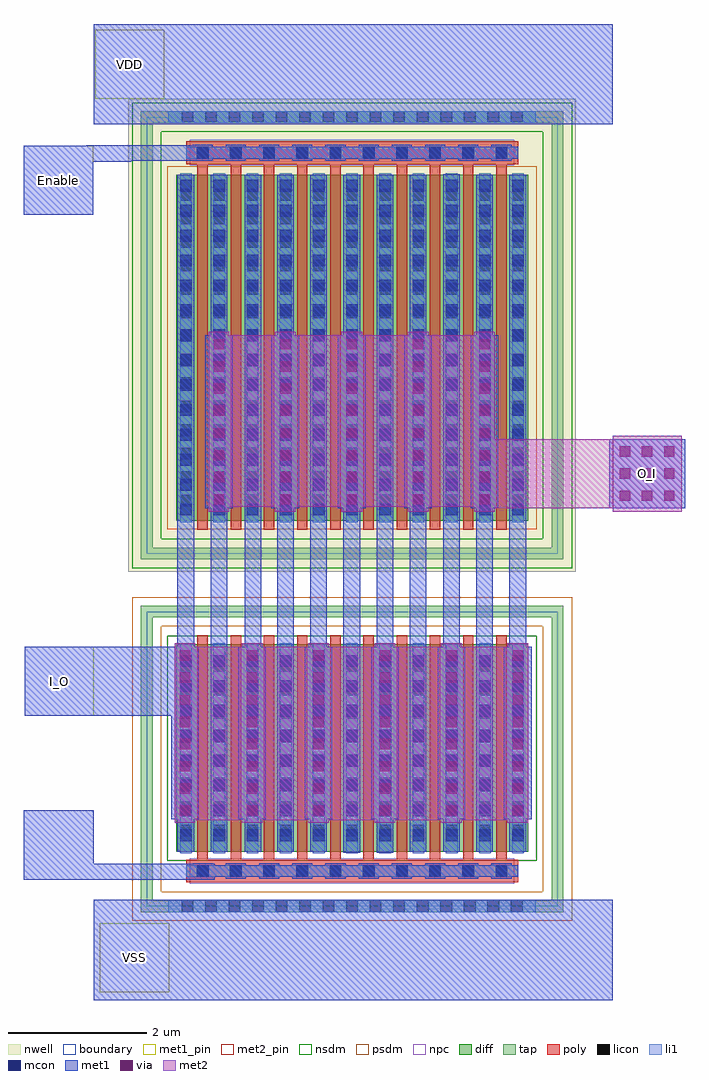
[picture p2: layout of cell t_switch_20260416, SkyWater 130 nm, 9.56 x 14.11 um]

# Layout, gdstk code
import gdstk
lib = gdstk.Library(unit=1e-6, precision=1e-09)
def R(c, l, rs):  # rectangles x0, y0, x1, y1
    for r in rs: c.add(gdstk.rectangle(r[:2], r[2:], *l))
def A(c, l, x, y, w, h, nx, ny, dx, dy):  # array of equal rectangles
    R(c, l, [(x+i*dx, y+j*dy, x+i*dx+w, y+j*dy+h) for i in range(nx) for j in range(ny)])
nwell = (64, 20)
diff = (65, 20)
tap = (65, 44)
poly = (66, 20)
licon = (66, 44)
li1 = (67, 20)
mcon = (67, 44)
met1_pin = (68, 16)
met1 = (68, 20)
via = (68, 44)
met2_pin = (69, 16)
met2 = (69, 20)
nsdm = (93, 44)
psdm = (94, 20)
npc = (95, 20)
boundary = (235, 4)

sky130_fd_pr__nfet_01v8_ = lib.new_cell('sky130_fd_pr__nfet_01v8_3DG2JK')
R(sky130_fd_pr__nfet_01v8_, diff, [(-2.545,-1.345,2.545,1.655)])
R(sky130_fd_pr__nfet_01v8_, tap, [(-3.055,-2.215,3.055,-2.045), (-3.055,-2.045,-2.885,2.045), (2.885,-2.045,3.055,2.045), (-3.055,2.045,3.055,2.215)])
A(sky130_fd_pr__nfet_01v8_, poly, -2.235, -1.455, 0.15, 3.24, 10, 1, 0.48, 0)
R(sky130_fd_pr__nfet_01v8_, poly, [(-2.4,-1.785,2.4,-1.455)])
A(sky130_fd_pr__nfet_01v8_, licon, -2.465, -2.215, 0.17, 0.17, 15, 1, 0.34, 0)
A(sky130_fd_pr__nfet_01v8_, licon, -2.245, -1.705, 0.17, 0.17, 10, 1, 0.48, 0)
A(sky130_fd_pr__nfet_01v8_, licon, -2.485, -1.12, 0.17, 0.17, 11, 8, 0.48, 0.34)
A(sky130_fd_pr__nfet_01v8_, li1, -2.485, -1.365, 0.17, 3.04, 11, 1, 0.48, 0)
R(sky130_fd_pr__nfet_01v8_, li1, [(-2.655,-2.215,2.655,-2.045), (-2.4,-1.705,2.4,-1.535)])
A(sky130_fd_pr__nfet_01v8_, mcon, -2.245, -1.705, 0.17, 0.17, 10, 1, 0.48, 0)
A(sky130_fd_pr__nfet_01v8_, mcon, -2.485, -1.19, 0.17, 0.17, 11, 8, 0.48, 0.36)
A(sky130_fd_pr__nfet_01v8_, met1, -2.305, -1.735, 0.29, 0.03, 10, 2, 0.48, 0.2)
A(sky130_fd_pr__nfet_01v8_, met1, -2.515, -1.345, 0.23, 3, 11, 1, 0.48, 0)
R(sky130_fd_pr__nfet_01v8_, met1, [(-2.4,-1.705,2.4,-1.535)])
R(sky130_fd_pr__nfet_01v8_, nsdm, [(-2.67,-1.47,2.67,1.78)])
R(sky130_fd_pr__nfet_01v8_, psdm, [(-3.18,-2.34,3.18,-1.92), (-3.18,-1.92,-2.76,1.92), (2.76,-1.92,3.18,1.92), (-3.18,1.92,3.18,2.34)])
R(sky130_fd_pr__nfet_01v8_, npc, [(-2.345,-1.805,2.345,-1.435)])
R(sky130_fd_pr__nfet_01v8_, boundary, [(-2.97,-2.13,2.97,2.13)])
sky130_fd_pr__nfet_01v8_.add(gdstk.Label('S7', (0.96,0.155), layer=67, texttype=5))
sky130_fd_pr__nfet_01v8_.add(gdstk.Label('D6', (0.48,0.155), layer=67, texttype=5))
sky130_fd_pr__nfet_01v8_.add(gdstk.Label('S5', (0,0.155), layer=67, texttype=5))
sky130_fd_pr__nfet_01v8_.add(gdstk.Label('D8', (1.44,0.155), layer=67, texttype=5))
sky130_fd_pr__nfet_01v8_.add(gdstk.Label('S3', (-0.96,0.155), layer=67, texttype=5))
sky130_fd_pr__nfet_01v8_.add(gdstk.Label('S9', (1.92,0.155), layer=67, texttype=5))
sky130_fd_pr__nfet_01v8_.add(gdstk.Label('D2', (-1.44,0.155), layer=67, texttype=5))
sky130_fd_pr__nfet_01v8_.add(gdstk.Label('S1', (-1.92,0.155), layer=67, texttype=5))
sky130_fd_pr__nfet_01v8_.add(gdstk.Label('D4', (-0.48,0.155), layer=67, texttype=5))
sky130_fd_pr__nfet_01v8_.add(gdstk.Label('G', (-2.16,-1.62), layer=67, texttype=5))
sky130_fd_pr__nfet_01v8_.add(gdstk.Label('G', (-1.68,-1.62), layer=67, texttype=5))
sky130_fd_pr__nfet_01v8_.add(gdstk.Label('G', (-1.2,-1.62), layer=67, texttype=5))
sky130_fd_pr__nfet_01v8_.add(gdstk.Label('G', (-0.72,-1.62), layer=67, texttype=5))
sky130_fd_pr__nfet_01v8_.add(gdstk.Label('G', (-0.24,-1.62), layer=67, texttype=5))
sky130_fd_pr__nfet_01v8_.add(gdstk.Label('G', (0.24,-1.62), layer=67, texttype=5))
sky130_fd_pr__nfet_01v8_.add(gdstk.Label('G', (0.72,-1.62), layer=67, texttype=5))
sky130_fd_pr__nfet_01v8_.add(gdstk.Label('G', (1.2,-1.62), layer=67, texttype=5))
sky130_fd_pr__nfet_01v8_.add(gdstk.Label('G', (1.68,-1.62), layer=67, texttype=5))
sky130_fd_pr__nfet_01v8_.add(gdstk.Label('G', (2.16,-1.62), layer=67, texttype=5))
sky130_fd_pr__nfet_01v8_.add(gdstk.Label('D0', (-2.4,0.155), layer=67, texttype=5))
sky130_fd_pr__nfet_01v8_.add(gdstk.Label('B', (0,-2.13), layer=67, texttype=5))

sky130_fd_pr__pfet_01v8_ = lib.new_cell('sky130_fd_pr__pfet_01v8_ZQNDFS')
R(sky130_fd_pr__pfet_01v8_, nwell, [(-3.235,-3.42,3.235,3.42)])
R(sky130_fd_pr__pfet_01v8_, diff, [(-2.545,-2.68,2.545,2.32)])
R(sky130_fd_pr__pfet_01v8_, tap, [(-3.055,-3.24,3.055,-3.07), (-3.055,-3.07,-2.885,3.07), (2.885,-3.07,3.055,3.07), (-3.055,3.07,3.055,3.24)])
A(sky130_fd_pr__pfet_01v8_, poly, -2.235, -2.81, 0.15, 5.285, 10, 1, 0.48, 0)
R(sky130_fd_pr__pfet_01v8_, poly, [(-2.4,2.475,2.4,2.805)])
A(sky130_fd_pr__pfet_01v8_, licon, -2.485, -2.475, 0.17, 0.17, 11, 14, 0.48, 0.34)
A(sky130_fd_pr__pfet_01v8_, licon, -2.245, 2.555, 0.17, 0.17, 10, 1, 0.48, 0)
A(sky130_fd_pr__pfet_01v8_, licon, -2.465, 3.07, 0.17, 0.17, 15, 1, 0.34, 0)
A(sky130_fd_pr__pfet_01v8_, li1, -2.485, -2.7, 0.17, 5.04, 11, 1, 0.48, 0)
R(sky130_fd_pr__pfet_01v8_, li1, [(-2.4,2.555,2.4,2.725), (-2.655,3.07,2.655,3.24)])
A(sky130_fd_pr__pfet_01v8_, mcon, -2.485, -2.605, 0.17, 0.17, 11, 14, 0.48, 0.36)
A(sky130_fd_pr__pfet_01v8_, mcon, -2.245, 2.555, 0.17, 0.17, 10, 1, 0.48, 0)
A(sky130_fd_pr__pfet_01v8_, met1, -2.515, -2.68, 0.23, 5, 11, 1, 0.48, 0)
A(sky130_fd_pr__pfet_01v8_, met1, -2.305, 2.525, 0.29, 0.03, 10, 2, 0.48, 0.2)
R(sky130_fd_pr__pfet_01v8_, met1, [(-2.4,2.555,2.4,2.725)])
R(sky130_fd_pr__pfet_01v8_, nsdm, [(-3.18,-3.365,3.18,-2.945), (-3.18,-2.945,-2.76,2.945), (2.76,-2.945,3.18,2.945), (-3.18,2.945,3.18,3.365)])
R(sky130_fd_pr__pfet_01v8_, psdm, [(-2.67,-2.805,2.67,2.445)])
R(sky130_fd_pr__pfet_01v8_, npc, [(-2.345,2.455,2.345,2.825)])
R(sky130_fd_pr__pfet_01v8_, boundary, [(-2.97,-3.155,2.97,3.155)])
sky130_fd_pr__pfet_01v8_.add(gdstk.Label('B', (0,-3.155), layer=65, texttype=5))
sky130_fd_pr__pfet_01v8_.add(gdstk.Label('S7', (0.96,-0.18), layer=67, texttype=5))
sky130_fd_pr__pfet_01v8_.add(gdstk.Label('D6', (0.48,-0.18), layer=67, texttype=5))
sky130_fd_pr__pfet_01v8_.add(gdstk.Label('S5', (0,-0.18), layer=67, texttype=5))
sky130_fd_pr__pfet_01v8_.add(gdstk.Label('D8', (1.44,-0.18), layer=67, texttype=5))
sky130_fd_pr__pfet_01v8_.add(gdstk.Label('S3', (-0.96,-0.18), layer=67, texttype=5))
sky130_fd_pr__pfet_01v8_.add(gdstk.Label('S9', (1.92,-0.18), layer=67, texttype=5))
sky130_fd_pr__pfet_01v8_.add(gdstk.Label('D2', (-1.44,-0.18), layer=67, texttype=5))
sky130_fd_pr__pfet_01v8_.add(gdstk.Label('S1', (-1.92,-0.18), layer=67, texttype=5))
sky130_fd_pr__pfet_01v8_.add(gdstk.Label('D4', (-0.48,-0.18), layer=67, texttype=5))
sky130_fd_pr__pfet_01v8_.add(gdstk.Label('G', (-2.16,2.64), layer=67, texttype=5))
sky130_fd_pr__pfet_01v8_.add(gdstk.Label('G', (-1.68,2.64), layer=67, texttype=5))
sky130_fd_pr__pfet_01v8_.add(gdstk.Label('G', (-1.2,2.64), layer=67, texttype=5))
sky130_fd_pr__pfet_01v8_.add(gdstk.Label('G', (-0.72,2.64), layer=67, texttype=5))
sky130_fd_pr__pfet_01v8_.add(gdstk.Label('G', (-0.24,2.64), layer=67, texttype=5))
sky130_fd_pr__pfet_01v8_.add(gdstk.Label('G', (0.24,2.64), layer=67, texttype=5))
sky130_fd_pr__pfet_01v8_.add(gdstk.Label('G', (0.72,2.64), layer=67, texttype=5))
sky130_fd_pr__pfet_01v8_.add(gdstk.Label('G', (1.2,2.64), layer=67, texttype=5))
sky130_fd_pr__pfet_01v8_.add(gdstk.Label('G', (1.68,2.64), layer=67, texttype=5))
sky130_fd_pr__pfet_01v8_.add(gdstk.Label('G', (2.16,2.64), layer=67, texttype=5))
sky130_fd_pr__pfet_01v8_.add(gdstk.Label('D0', (-2.4,-0.18), layer=67, texttype=5))

t_switch_20260416 = lib.new_cell('t_switch_20260416')
R(t_switch_20260416, met1_pin, [(4.59,-10,5.59,-9), (3.5,-6,4.5,-5), (3.49,1.24,4.49,2.24), (4.52,2.92,5.52,3.92)])
A(t_switch_20260416, met1, 6.59, -7.5, 0.4, 2.5, 5, 1, 0.96, 0)
A(t_switch_20260416, met1, 6.11, -3, 0.4, 2.5, 5, 1, 0.96, 0)
R(t_switch_20260416, met1, [(4.5,-10.11,12,-8.66), (3.49,-8.37,6.25,-8.14), (3.49,-8.14,4.5,-7.37), (8.11,-7.98,8.35,-3), (8.59,-7.98,8.83,-7.5), (5.71,-7.97,5.95,-7.5), (6.19,-7.97,6.43,-3), (6.68,-7.97,6.92,-7.5), (7.15,-7.97,7.39,-3), (7.63,-7.97,7.87,-7.5), (9.07,-7.97,9.31,-3), (10.03,-7.97,10.27,-3), (10.51,-7.97,10.75,-7.5), (9.55,-7.96,9.79,-7.5), (5.62,-7.5,6.02,-6), (3.5,-6,6.02,-5), (5.71,-5,5.95,1.82), (6.68,-5,6.92,1.82), (7.63,-5,7.87,1.82), (8.59,-5,8.83,1.81), (9.55,-5,9.79,1.83), (10.51,-5,10.75,1.82), (11.95,-3,13.05,-2), (6.19,-0.5,6.43,1.82), (7.15,-0.5,7.39,1.82), (8.11,-0.5,8.35,1.81), (9.07,-0.5,9.31,1.82), (10.03,-0.5,10.27,1.82), (3.49,1.24,4.49,2.01), (3.49,2.01,5.04,2.02), (3.49,2.02,6.21,2.24), (4.39,2.24,6.21,2.25), (4.5,2.55,12,4)])
A(t_switch_20260416, via, 5.745, -7.445, 0.15, 0.15, 1, 8, 0, 0.32)
A(t_switch_20260416, via, 6.715, -7.445, 0.15, 0.15, 5, 8, 0.96, 0.32)
A(t_switch_20260416, via, 6.235, -2.945, 0.15, 0.15, 5, 8, 0.96, 0.32)
A(t_switch_20260416, via, 12.105, -2.895, 0.15, 0.15, 3, 3, 0.32, 0.32)
R(t_switch_20260416, met2_pin, [(12,-3,13,-2)])
A(t_switch_20260416, met2, 6.64, -7.55, 0.3, 0.04, 5, 1, 0.96, 0)
A(t_switch_20260416, met2, 6.64, -5, 0.3, 0.05, 5, 1, 0.96, 0)
A(t_switch_20260416, met2, 6.16, -3.05, 0.3, 0.07, 4, 1, 0.96, 0)
A(t_switch_20260416, met2, 6.16, -0.5, 0.3, 0.05, 5, 1, 0.96, 0)
R(t_switch_20260416, met2, [(5.67,-7.55,5.97,-7.51), (5.67,-7.51,10.78,-5), (5.67,-5,5.97,-4.95), (10,-3.05,10.3,-3), (12,-3.05,13,-3), (10,-3,13,-2.98), (6.16,-2.98,13,-2), (6.16,-2,10.3,-0.5), (12,-2,13,-1.95)])
t_switch_20260416.add(gdstk.Reference(sky130_fd_pr__nfet_01v8_, (8.235,-6.625)))
t_switch_20260416.add(gdstk.Reference(sky130_fd_pr__pfet_01v8_, (8.235,-0.5)))
t_switch_20260416.add(gdstk.Label('I_O', (4,-5.5), layer=68, texttype=5))
t_switch_20260416.add(gdstk.Label('VSS', (5.09,-9.5), layer=68, texttype=5))
t_switch_20260416.add(gdstk.Label('VDD', (5.02,3.42), layer=68, texttype=5))
t_switch_20260416.add(gdstk.Label('Enable', (3.99,1.74), layer=68, texttype=5))
t_switch_20260416.add(gdstk.Label('O_I', (12.5,-2.5), layer=69, texttype=5))

lib.write_gds('t_switch_20260416.gds')
